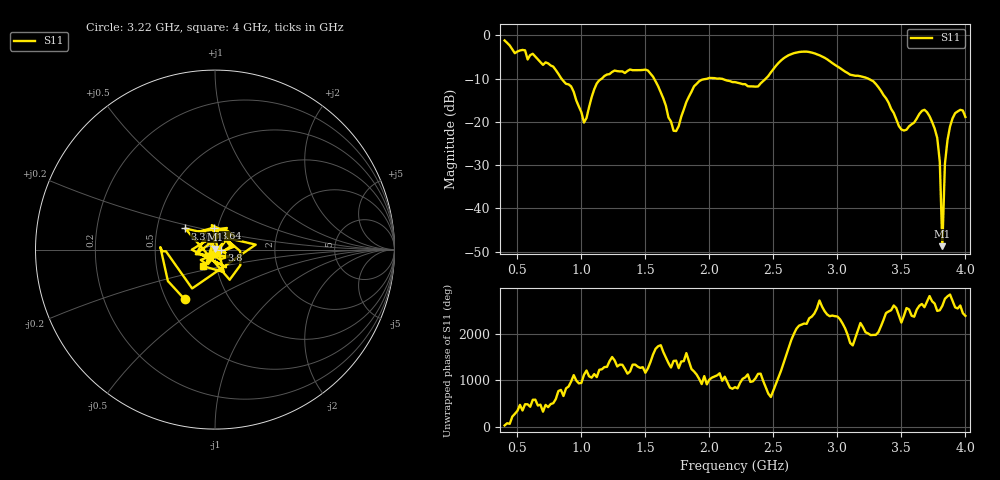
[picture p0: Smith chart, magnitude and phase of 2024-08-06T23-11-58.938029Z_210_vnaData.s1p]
!Created with skrf (http://scikit-rf.org).
# Hz S RI R 50.0
!freq ReS11 ImS11
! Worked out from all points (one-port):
!   181 points, 400 MHz to 4 GHz, reference 50 ohm
!   lowest |S11| = -48.8 dB at 3.82 GHz (marker M1), VSWR 1.01, Z = 50 + j0.365 ohm
!   |S11| at or under -10 dB: 1.567 GHz to 1.987 GHz (419.4 MHz wide, 23.6 % of centre); 2.081 GHz to 2.442 GHz (360.8 MHz wide, 16 % of centre); 3.239 GHz to end of sweep (the widest 3 of 5)
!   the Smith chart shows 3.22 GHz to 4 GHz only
!   S11 on the Smith chart (normalised r, x): 3.22 GHz: 0.62, -0.38; 3.36 GHz: 0.70, +0.17; 3.64 GHz: 0.96, +0.24; 3.8 GHz: 1.07, -0.01; 4 GHz: 0.86, -0.16
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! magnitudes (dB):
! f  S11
! 400 MHz  -1.2
! 860 MHz  -10.6
! 920 MHz  -11.8
! 1.02 GHz  -20.2
! 1.12 GHz  -11.1
! 1.3 GHz  -8.4
! 1.52 GHz  -8.2
! 1.64 GHz  -14.6
! 1.72 GHz  -22.1
! 1.76 GHz  -21.0
! 1.92 GHz  -10.6
! 2.2 GHz  -10.8
! 2.38 GHz  -11.8
! 2.66 GHz  -4.1
! 3.1 GHz  -9.1
! 3.22 GHz  -9.8
! 3.36 GHz  -13.8
! 3.5 GHz  -21.8
! 3.56 GHz  -21.0
! 3.64 GHz  -18.2
! 3.74 GHz  -20.1
! 3.78 GHz  -23.7
! 3.8 GHz  -29.2
! 3.82 GHz  -48.8
! 3.84 GHz  -29.7
! 3.86 GHz  -24.3
! 3.92 GHz  -18.0
! 4 GHz  -18.9
